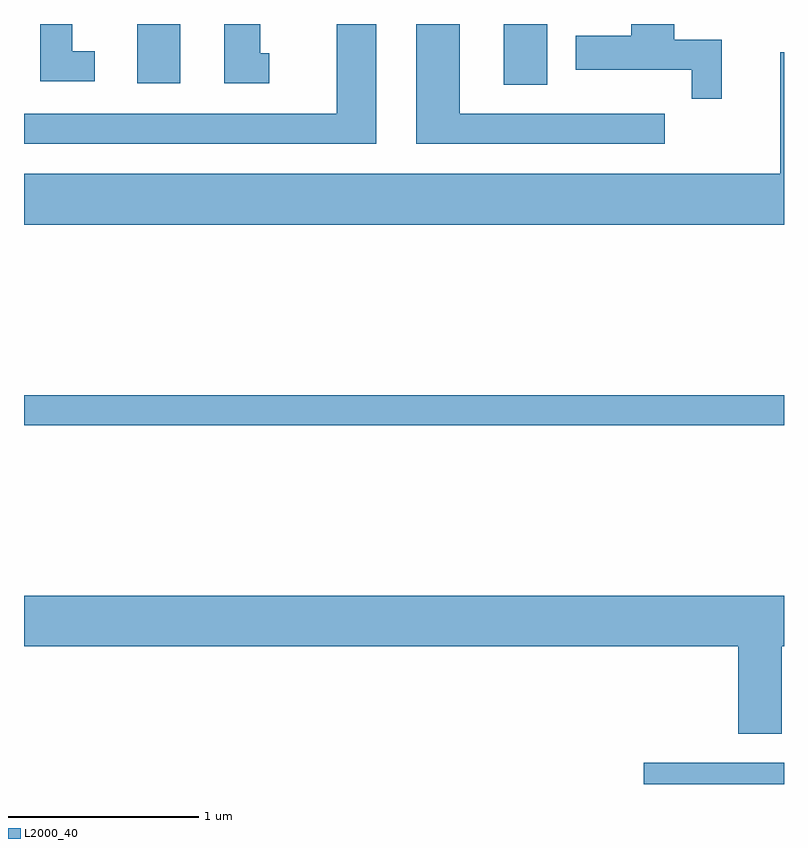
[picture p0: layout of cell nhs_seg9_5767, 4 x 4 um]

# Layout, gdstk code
import gdstk
lib = gdstk.Library(unit=1e-6, precision=1e-09)
def R(c, l, rs):  # rectangles x0, y0, x1, y1
    for r in rs: c.add(gdstk.rectangle(r[:2], r[2:], *l))
def P(c, l, *ps):  # polygons
    for p in ps: c.add(gdstk.Polygon(p, *l))
L2000_40 = (2000, 40)

nhs_seg9_5767 = lib.new_cell('nhs_seg9_5767')
R(nhs_seg9_5767, L2000_40, [(358.873,1984.432,359.611,1984.544), (355.611,1986.321,359.611,1986.479), (358.136,1988.111,358.364,1988.432), (356.206,1988.121,356.434,1988.432)])
P(nhs_seg9_5767, L2000_40, [(356.903,1988.279),(356.854,1988.279),(356.854,1988.432),(356.666,1988.432),(356.666,1988.121),(356.903,1988.121)],
  [(358.983,1987.959),(357.904,1987.959),(357.904,1988.432),(357.676,1988.432),(357.676,1987.801),(358.983,1987.801)],
  [(355.983,1988.289),(355.864,1988.289),(355.864,1988.432),(355.696,1988.432),(355.696,1988.131),(355.983,1988.131)],
  [(357.464,1988.432),(357.256,1988.432),(357.256,1987.959),(355.611,1987.959),(355.611,1987.801),(357.464,1987.801)],
  [(359.284,1988.349),(359.034,1988.349),(359.034,1988.432),(358.806,1988.432),(358.806,1988.369),(358.516,1988.369),(358.516,1988.191),(359.126,1988.191),(359.126,1988.038),(359.284,1988.038)],
  [(359.611,1988.283),(359.591,1988.283),(359.591,1987.644),(355.611,1987.644),(355.611,1987.376),(359.611,1987.376)],
  [(359.599,1985.156),(359.611,1985.156),(359.611,1985.424),(355.611,1985.424),(355.611,1985.156),(359.371,1985.156),(359.371,1984.696),(359.599,1984.696)])

lib.write_gds('nhs_seg9_5767.gds')
